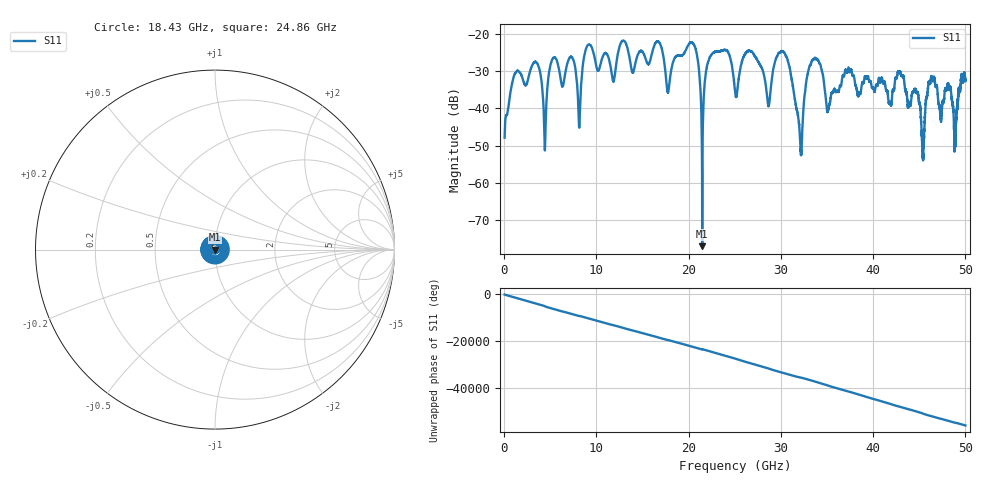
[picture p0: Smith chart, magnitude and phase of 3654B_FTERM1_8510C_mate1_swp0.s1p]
!Created with skrf (http://scikit-rf.org).
# Hz S RI R 50.0
!freq ReS11 ImS11
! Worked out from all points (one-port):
!   10001 points, 45 MHz to 50 GHz, reference 50 ohm
!   lowest |S11| = -77.0 dB at 21.47 GHz (marker M1), VSWR 1.00, Z = 50 + j0.0138 ohm
!   |S11| at or under -10 dB: start of sweep to end of sweep
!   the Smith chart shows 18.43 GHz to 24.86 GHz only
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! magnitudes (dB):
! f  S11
! 45 MHz  -47.9
! 1.334 GHz  -30.1
! 3.567 GHz  -27.9
! 4.401 GHz  -51.0
! 5.235 GHz  -26.8
! 6.289 GHz  -34.2
! 8.133 GHz  -45.2
! 12.53 GHz  -23.2
! 16.73 GHz  -22.1
! 17.76 GHz  -35.8
! 18.78 GHz  -25.9
! 20.62 GHz  -23.2
! 21.47 GHz  -77.0
! 22.68 GHz  -25.1
! 25.02 GHz  -35.5
! 26.57 GHz  -24.6
! 28.63 GHz  -39.2
! 29.95 GHz  -25.0
! 31.27 GHz  -33.7
! 32.14 GHz  -51.4
! 33.48 GHz  -27.0
! 35.12 GHz  -40.4
! 37.51 GHz  -30.2
! 43.76 GHz  -39.1
! 45.4 GHz  -53.3
! 46.2 GHz  -33.0
! 48.89 GHz  -46.7
! 50 GHz  -32.7
